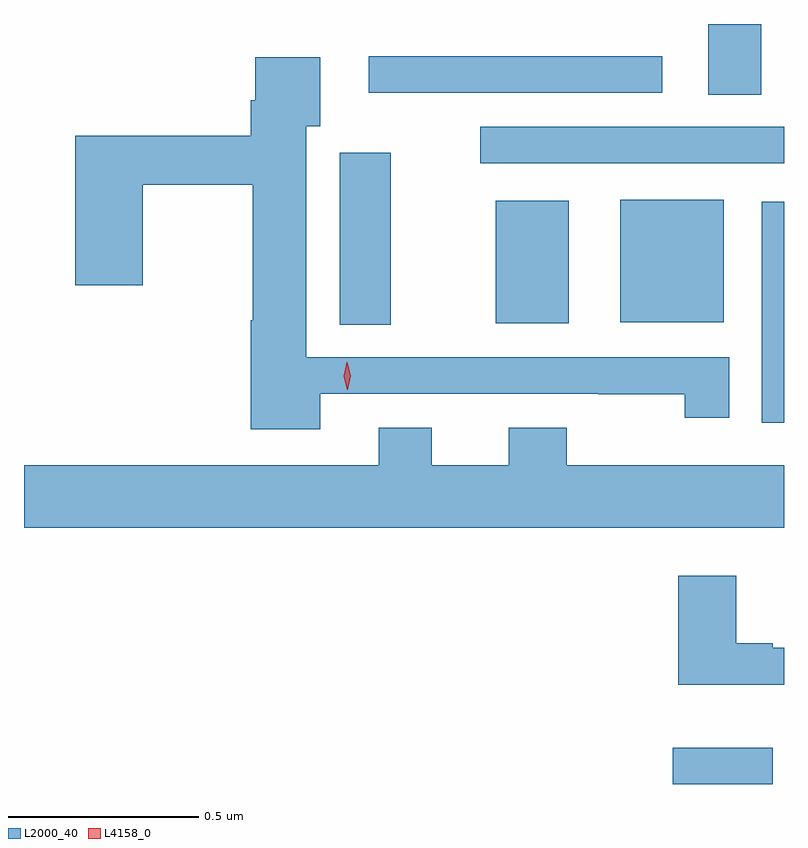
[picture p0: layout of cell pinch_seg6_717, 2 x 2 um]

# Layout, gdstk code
import gdstk
lib = gdstk.Library(unit=1e-6, precision=1e-09)
def R(c, l, rs):  # rectangles x0, y0, x1, y1
    for r in rs: c.add(gdstk.rectangle(r[:2], r[2:], *l))
def P(c, l, *ps):  # polygons
    for p in ps: c.add(gdstk.Polygon(p, *l))
L2000_40 = (2000, 40)
L4158_0 = (4158, 0)

pinch_seg6_717 = lib.new_cell('pinch_seg6_717')
R(pinch_seg6_717, L2000_40, [(471.488,924.017,471.751,924.112), (471.722,924.968,471.781,925.549), (470.612,925.225,470.746,925.678), (471.023,925.229,471.214,925.552), (471.35,925.232,471.622,925.555), (470.982,925.65,471.781,925.746), (471.581,925.831,471.721,926.017), (470.688,925.836,471.46,925.932)])
P(pinch_seg6_717, L2000_40, [(470.56,925.044),(471.292,925.044),(471.292,925.043),(471.52,925.043),(471.52,924.981),(471.637,924.981),(471.637,925.14),(470.524,925.14),(470.524,925.748),(470.56,925.748),(470.56,925.93),(470.39,925.93),(470.39,925.817),(470.378,925.817),(470.378,925.723),(469.916,925.723),(469.916,925.329),(470.094,925.329),(470.094,925.594),(470.383,925.594),(470.383,925.237),(470.378,925.237),(470.378,924.95),(470.56,924.95)],
  [(471.781,924.856),(471.209,924.856),(471.209,924.955),(471.056,924.955),(471.056,924.856),(470.854,924.856),(470.854,924.955),(470.714,924.955),(470.714,924.856),(469.781,924.856),(469.781,924.692),(471.781,924.692)],
  [(471.781,924.375),(471.751,924.375),(471.751,924.388),(471.655,924.388),(471.655,924.565),(471.503,924.565),(471.503,924.278),(471.781,924.278)])
P(pinch_seg6_717, L4158_0, [(470.632,925.055),(470.632,925.055),(470.622,925.09),(470.63,925.127),(470.63,925.127),(470.631,925.127),(470.641,925.091),(470.633,925.055)])

lib.write_gds('pinch_seg6_717.gds')
